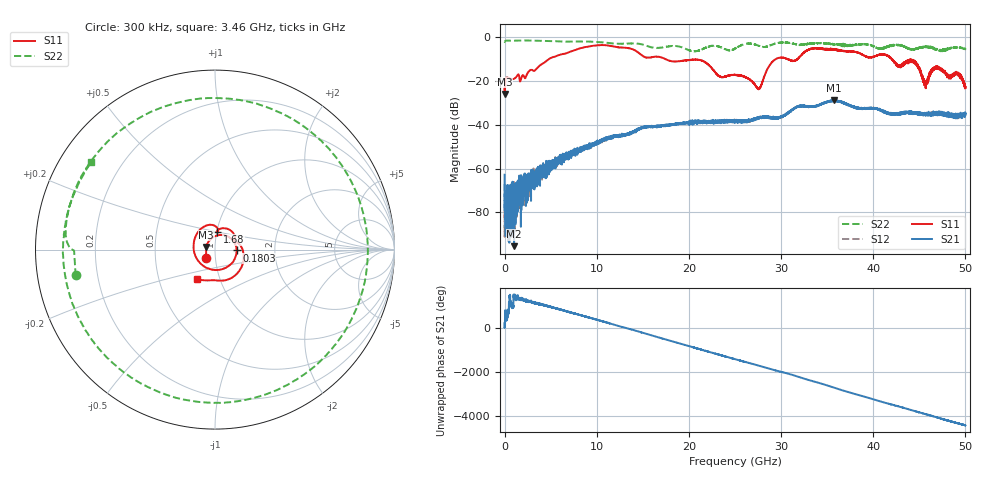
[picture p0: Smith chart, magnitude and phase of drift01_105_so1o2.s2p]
!Created with skrf (http://scikit-rf.org).
# Hz S RI R 50.0
!freq ReS11 ImS11 ReS21 ImS21 ReS12 ImS12 ReS22 ImS22
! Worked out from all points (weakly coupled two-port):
!   10001 points, 300 kHz to 50 GHz, reference 50 ohm
!   highest |S21| = -28.73 dB at 35.74 GHz (marker M1); lowest = -95.5 dB at 1.03 GHz (marker M2)
!   lowest |S11| = -25.8 dB at 5.3 MHz (marker M3), VSWR 1.11, Z = 45.3 + j1.39 ohm
!   |S11| at or under -10 dB: start of sweep to 4.768 GHz; 17.51 GHz to 29.38 GHz (11.87 GHz wide, 50.6 % of centre); 42.07 GHz to end of sweep (the widest 3 of 11)
!   |S22| runs from -6.3 to -1.4 dB; largest |S21 - S12| = 0.0039
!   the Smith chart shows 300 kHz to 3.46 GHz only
!   S11 on the Smith chart (normalised r, x): 300 kHz: 0.90, -0.08; 180.3 MHz: 1.27, -0.01; 1.68 GHz: 1.01, +0.20; 3.46 GHz: 0.77, -0.26
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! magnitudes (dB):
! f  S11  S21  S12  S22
! 300 kHz  -23.4  -62.8  -66.9  -2.1
! 5.3 MHz  -25.8  -75.7  -90.1  -2.1
! 180.3 MHz  -18.4  -70.9  -81.1  -1.4
! 1.03 GHz  -18.9  -95.5  -72.1  -1.5
! 1.68 GHz  -20.1  -69.4  -75.0  -1.4
! 3.46 GHz  -14.3  -62.1  -64.5  -1.5
! 8.335 GHz  -4.8  -51.1  -51.6  -1.8
! 16.67 GHz  -8.8  -40.8  -40.6  -4.8
! 21.21 GHz  -10.3  -39.1  -38.7  -5.8
! 25 GHz  -17.1  -38.9  -38.1  -5.1
! 27.59 GHz  -23.5  -36.8  -36.8  -3.8
! 29.27 GHz  -10.3  -36.8  -36.8  -2.9
! 31.47 GHz  -10.7  -32.3  -32.2  -2.9
! 33.34 GHz  -5.1  -31.7  -31.7  -2.7
! 35.74 GHz  -5.4  -28.7  -29.1  -2.9
! 41.67 GHz  -8.7  -34.7  -34.8  -4.2
! 42.79 GHz  -13.2  -34.8  -34.9  -3.6
! 44.4 GHz  -11.0  -34.4  -34.6  -5.3
! 45.63 GHz  -20.6  -35.2  -34.6  -4.4
! 46.93 GHz  -13.5  -34.2  -34.6  -5.3
! 49.2 GHz  -16.6  -36.2  -35.8  -4.4
! 50 GHz  -23.1  -34.7  -35.2  -5.4
